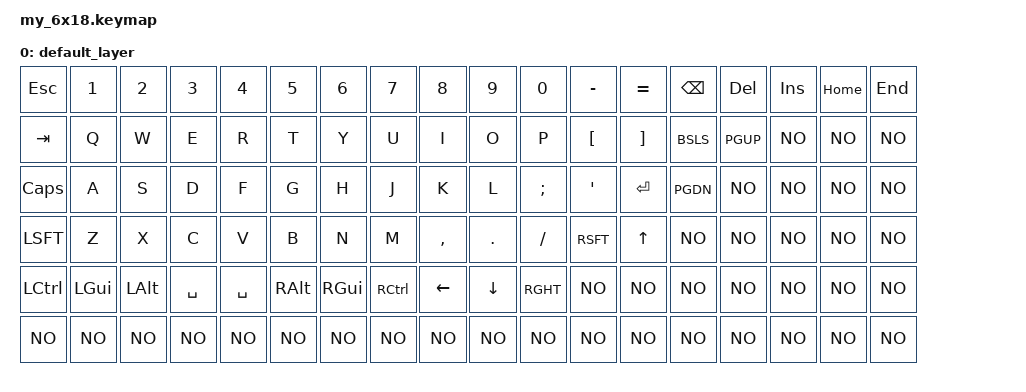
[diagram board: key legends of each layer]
/ {
    keymap {
        compatible = "zmk,keymap";

        default_layer {
            bindings = <
                &kp ESC   &kp 1     &kp 2     &kp 3     &kp 4     &kp 5     &kp 6     &kp 7     &kp 8     &kp 9     &kp 0     &kp MINUS &kp EQUAL  &kp BSPC  &kp DEL   &kp INS   &kp HOME  &kp END
                &kp TAB   &kp Q     &kp W     &kp E     &kp R     &kp T     &kp Y     &kp U     &kp I     &kp O     &kp P     &kp LBKT  &kp RBKT   &kp BSLS  &kp PGUP  &kp NO    &kp NO    &kp NO
                &kp CAPS  &kp A     &kp S     &kp D     &kp F     &kp G     &kp H     &kp J     &kp K     &kp L     &kp SEMI  &kp SQT   &kp RET    &kp PGDN  &kp NO    &kp NO    &kp NO    &kp NO
                &kp LSFT  &kp Z     &kp X     &kp C     &kp V     &kp B     &kp N     &kp M     &kp COMMA &kp DOT   &kp FSLH  &kp RSFT  &kp UP     &kp NO    &kp NO    &kp NO    &kp NO    &kp NO
                &kp LCTL  &kp LGUI  &kp LALT  &kp SPC   &kp SPC   &kp RALT  &kp RGUI  &kp RCTL  &kp LEFT  &kp DOWN  &kp RGHT  &kp NO    &kp NO     &kp NO    &kp NO    &kp NO    &kp NO    &kp NO
                &kp NO    &kp NO    &kp NO    &kp NO    &kp NO    &kp NO    &kp NO    &kp NO    &kp NO    &kp NO    &kp NO    &kp NO    &kp NO     &kp NO    &kp NO    &kp NO    &kp NO    &kp NO
            >;
        };
    };

    rgb_matrix {
        compatible = "zmk,per-key-rgb";
        label = "RGB_MATRIX";
        led-strip = <&led_strip>;

        leds = <
            /* row col index */
            0 0 0   0 1 1   0 2 2   0 3 3   0 4 4   0 5 5   0 6 6   0 7 7   0 8 8   0 9 9   0 10 10  0 11 11  0 12 12  0 13 13  0 14 14  0 15 15  0 16 16  0 17 17
            1 0 18  1 1 19  1 2 20  1 3 21  1 4 22  1 5 23  1 6 24  1 7 25  1 8 26  1 9 27  1 10 28  1 11 29  1 12 30  1 13 31  1 14 32  1 15 33  1 16 34  1 17 35
            2 0 36  2 1 37  2 2 38  2 3 39  2 4 40  2 5 41  2 6 42  2 7 43  2 8 44  2 9 45  2 10 46  2 11 47  2 12 48  2 13 49  2 14 50  2 15 51  2 16 52  2 17 53
            3 0 54  3 1 55  3 2 56  3 3 57  3 4 58  3 5 59  3 6 60  3 7 61  3 8 62  3 9 63  3 10 64  3 11 65  3 12 66  3 13 67  3 14 68  3 15 69  3 16 70  3 17 71
            4 0 72  4 1 73  4 2 74  4 3 75  4 4 76  4 5 77  4 6 78  4 7 79  4 8 80  4 9 81  4 10 82  4 11 83  4 12 84  4 13 85  4 14 86  4 15 87  4 16 88  4 17 89
            5 0 90  5 1 91  5 2 92  5 3 93  5 4 94  5 5 95  5 6 96  5 7 97  5 8 98  5 9 99  5 10 100 5 11 101 5 12 102 5 13 103 5 14 104 5 15 105 5 16 106 5 17 107
        >;
    };
};
